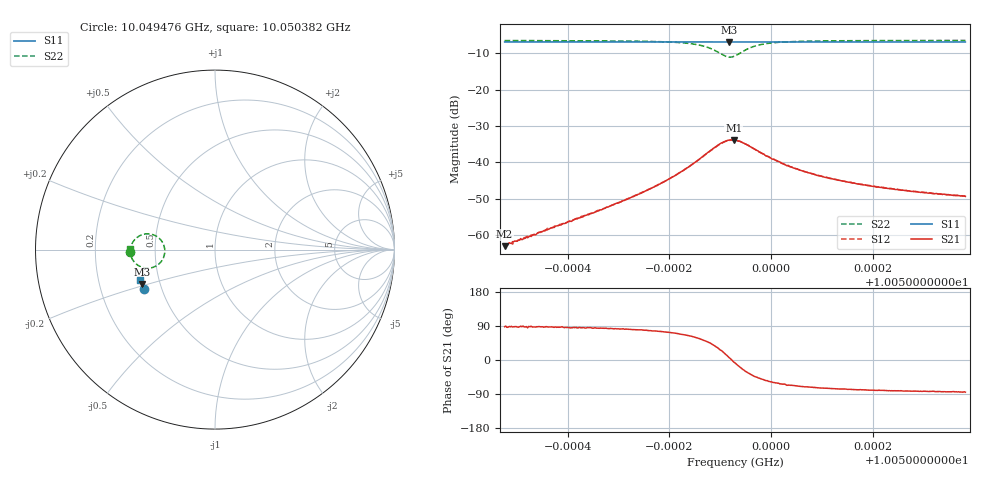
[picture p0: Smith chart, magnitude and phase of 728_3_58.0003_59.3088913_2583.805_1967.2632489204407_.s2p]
#  HZ  S  RI  R  50.00
! Rohde & Schwarz Vector Network Analyzer
! Rohde-Schwarz,ZNB20-2Port,1311601062101988,3.16
! Created: UTC 3/21/2024, 1:22:58 AM
! freq[Hz]  re:S11  im:S11  re:S21  im:S21  re:S12  im:S12  re:S22  im:S22
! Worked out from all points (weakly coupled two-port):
!   401 points, 10.049476 GHz to 10.050382 GHz, reference 50 ohm
!   highest |S21| = -33.85 dB at 10.049927 GHz (marker M1); lowest = -63.1 dB at 10.049476 GHz (marker M2)
!   lowest |S11| = -6.9 dB at 10.049918 GHz (marker M3), VSWR 2.64, Z = 19.8 - j9.62 ohm
!   |S11| at or under -10 dB: nowhere
!   |S22| runs from -11.1 to -6.5 dB; largest |S21 - S12| = 0.0015
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1.00494764e10  -0.3966 -0.221  2.55e-05 0.000698  -1.29e-05 0.000724  -0.4736 -0.0127
1.00494922e10  -0.3969 -0.22  4.17e-05 0.000812  -6.58e-06 0.000742  -0.4736 -0.0109
1.00495194e10  -0.3977 -0.2183  3.1e-05 0.000931  -8.58e-06 0.000948  -0.4732 -0.00774
1.00496281e10  -0.4009 -0.2119  0.000152 0.00175  2.69e-05 0.0018  -0.471 0.00734
1.00497073e10  -0.4034 -0.207  0.000386 0.0029  0.000255 0.00292  -0.4667 0.0229
1.00497797e10  -0.4053 -0.2024  0.00123 0.00479  0.00101 0.0049  -0.4556 0.0449
1.00498114e10  -0.4061 -0.2005  0.00216 0.00619  0.00185 0.00631  -0.4442 0.0591
1.00498409e10  -0.4067 -0.1985  0.00399 0.00794  0.0036 0.00815  -0.4238 0.0749
1.00498794e10  -0.4071 -0.1957  0.00992 0.0101  0.00938 0.0105  -0.3628 0.0873
1.0049902e10  -0.4069 -0.1945  0.0166 0.00784  0.016 0.00857  -0.3044 0.0565
1.00499178e10  -0.4069 -0.194  0.0201 0.00213  0.0197 0.00345  -0.2799 0.00047
1.00499269e10  -0.4072 -0.194  0.0202 -0.00196  0.0201 -0.000501  -0.2841 -0.0365
1.00499292e10  -0.4072 -0.194  0.02 -0.00267  0.0199 -0.00151  -0.2872 -0.0455
1.00499382e10  -0.4075 -0.1938  0.0185 -0.00601  0.0189 -0.00488  -0.3065 -0.0743
1.00499518e10  -0.4082 -0.1934  0.015 -0.00915  0.0155 -0.00817  -0.3438 -0.0983
1.00499835e10  -0.4097 -0.1918  0.00819 -0.0101  0.00889 -0.00966  -0.4104 -0.0973
1.0050031e10  -0.4114 -0.1888  0.00353 -0.00824  0.0044 -0.00807  -0.4497 -0.069
1.00500809e10  -0.4128 -0.1858  0.00215 -0.00657  0.00255 -0.00649  -0.4637 -0.0474
1.00501443e10  -0.4147 -0.1817  0.00126 -0.00531  0.00156 -0.00527  -0.4702 -0.0296
1.00502325e10  -0.4169 -0.1762  0.000688 -0.00427  0.000965 -0.00425  -0.4736 -0.013
1.00503027e10  -0.4186 -0.172  0.000498 -0.00378  0.00068 -0.00375  -0.4746 -0.00329
1.0050382e10  -0.4205 -0.1671  0.000303 -0.00337  0.000554 -0.00341  -0.4749 0.00585
